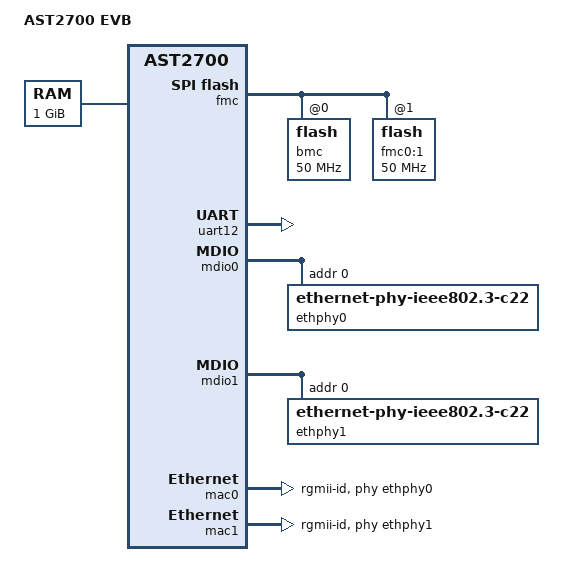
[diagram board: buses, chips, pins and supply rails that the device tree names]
// SPDX-License-Identifier: GPL-2.0-only OR MIT
/*
 * Device Tree Source AST2700 EVB
 *
 * Copyright (C) 2026 ASPEED Technology Inc.
 */

/dts-v1/;
#include "aspeed-g7-a35.dtsi"
#include <dt-bindings/net/ti-dp83867.h>
/ {
	model = "AST2700 EVB";
	compatible = "aspeed,ast2700-evb", "aspeed,ast2700";

	aliases {
		serial12 = &uart12;	/* console port */
	};

	chosen {
		stdout-path = "serial12:115200n8";
	};

	memory@400000000 {
		device_type = "memory";
		reg = <0x4 0x00000000 0x0 0x40000000>;
	};

	reserved-memory {
		#address-cells = <2>;
		#size-cells = <2>;
		ranges;

		ssp_memory: ssp-memory@42c000000 {
			reg = <0x4 0x2c000000 0x0 0x2000000>;
			no-map;
		};

		tsp_memory: tsp-memory@42e000000 {
			reg = <0x4 0x2e000000 0x0 0x2000000>;
			no-map;
		};

		ipc_ssp_share: ipc-ssp-share@431080000 {
			reg = <0x4 0x31080000 0x0 0x800000>;
			no-map;
		};

		ipc_bootmcu_share: ipc-bootmcu-share@431880000 {
			reg = <0x4 0x31880000 0x0 0x2b0000>;
			no-map;
		};

		vbios_base0: vbios-base0@431bb0000 {
			reg = <0x4 0x31bb0000 0x0 0x10000>;
			no-map;
		};

		vbios_base1: vbios-base1@431bc0000 {
			reg = <0x4 0x31bc0000 0x0 0x10000>;
			no-map;
		};

		video_engine_memory0: video0 {
			size = <0x0 0x02000000>;
			alignment = <0x0 0x00010000>;
			compatible = "shared-dma-pool";
			reusable;
		};

		video_engine_memory1: video1 {
			size = <0x0 0x02000000>;
			alignment = <0x0 0x00010000>;
			compatible = "shared-dma-pool";
			reusable;
		};


		rvas_memory0: rvas0{
			size = <0x0 0x04000000>;
			alignment = <0x0 0x01000000>;
			compatible = "shared-dma-pool";
			reusable;
		};

		rvas_memory1: rvas1{
			size = <0x0 0x04000000>;
			alignment = <0x0 0x01000000>;
			compatible = "shared-dma-pool";
			reusable;
		};		
	};
};

&fmc {
	status = "okay";
	pinctrl-0 = <&pinctrl_fwspi_quad_default>;
	pinctrl-names = "default";

	flash@0 {
		status = "okay";
		m25p,fast-read;
		label = "bmc";
		spi-max-frequency = <50000000>;
		spi-tx-bus-width = <4>;
		spi-rx-bus-width = <4>;
#include "aspeed-evb-flash-layout-128.dtsi"
	};

	flash@1 {
		status = "okay";
		m25p,fast-read;
		label = "fmc0:1";
		spi-max-frequency = <50000000>;
		spi-tx-bus-width = <4>;
		spi-rx-bus-width = <4>;
	};

	flash@2 {
		status = "disabled";
		m25p,fast-read;
		label = "fmc0:2";
		spi-max-frequency = <50000000>;
		spi-tx-bus-width = <4>;
		spi-rx-bus-width = <4>;
	};
};

&uart12 {
	status = "okay";
};

&mdio0 {
	status = "okay";
	#address-cells = <1>;
	#size-cells = <0>;

	ethphy0: ethernet-phy@0 {
		compatible = "ethernet-phy-ieee802.3-c22";
		reg = <0>;
	};
};

&mdio1 {
	status = "okay";
	#address-cells = <1>;
	#size-cells = <0>;

	ethphy1: ethernet-phy@0 {
		compatible = "ethernet-phy-ieee802.3-c22";
		reg = <0>;
		/* For DDR5 board */
		ti,rx-internal-delay = <DP83867_RGMIIDCTL_2_00_NS>;
		ti,tx-internal-delay = <DP83867_RGMIIDCTL_2_00_NS>;
	};
};

&mac0 {
	status = "okay";

	phy-mode = "rgmii-id";
	phy-handle = <&ethphy0>;

	pinctrl-names = "default";
	pinctrl-0 = <&pinctrl_rgmii0_default>;
};

&mac1 {
	status = "okay";

	phy-mode = "rgmii-id";
	phy-handle = <&ethphy1>;

	pinctrl-names = "default";
	pinctrl-0 = <&pinctrl_rgmii1_default>;
};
